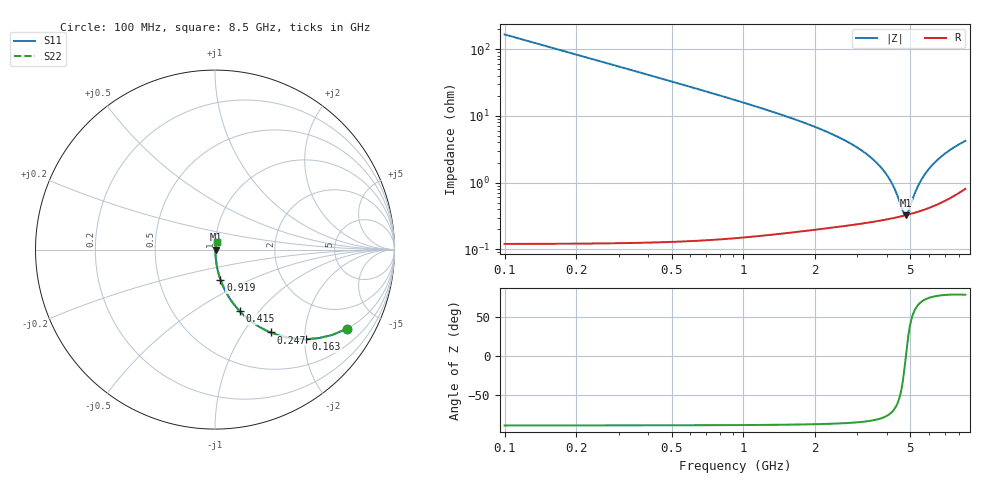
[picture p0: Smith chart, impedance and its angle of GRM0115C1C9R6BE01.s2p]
!Murata Part Number: GRM0115C1C9R6BE01
!These Parameters are Measured in Series Mode Connection
!Data Generated on Mar 30, 2021
!  o--ll--o
!Port1  Port2
!  o------o
!Operation Temp=25[degC], DC Bias Voltage=0[V]
!Freq. Start=100[MHz] Stop=9[GHz] 401[Steps]
# Hz S RI R 50
!Freq.(Hz) S11(Real) S11(Imag) S21(Real) S21(Imag) S12(Real) S12(Imag) S22(Real) S22(Imag)
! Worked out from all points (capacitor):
!   401 points, 100 MHz to 8.5 GHz, reference 50 ohm
!   read as one part in series: C = 9.6 pF near 142 MHz
!   lowest |Z| = 325 mohm at 4.783 GHz (marker M1)
!   series resonance near 4.788 GHz, so ESL is about 120 pH
!   S11 on the Smith chart (normalised r, x): 100 MHz: 1.00, -3.31; 163 MHz: 1.00, -2.03; 247 MHz: 1.00, -1.34; 415 MHz: 1.00, -0.79; 919 MHz: 1.00, -0.35; 8.5 GHz: 1.02, +0.08
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1e8  0.7329 -0.4421  0.2671 0.4421  0.2671 0.4421  0.7329 -0.4421
1.63e8  0.5078 -0.4993  0.4922 0.4993  0.4922 0.4993  0.5078 -0.4993
2.47e8  0.3097 -0.4615  0.6903 0.4615  0.6903 0.4615  0.3097 -0.4615
3.31e8  0.1995 -0.3984  0.8005 0.3984  0.8005 0.3984  0.1995 -0.3984
4.15e8  0.1365 -0.3418  0.8635 0.3418  0.8635 0.3418  0.1365 -0.3418
6.04e8  0.069 -0.2509  0.931 0.2509  0.931 0.2509  0.069 -0.2509
9.19e8  0.0305 -0.1679  0.9695 0.1679  0.9695 0.1679  0.0305 -0.1679
1.507e9  0.0114 -0.0975  0.9886 0.0975  0.9886 0.0975  0.0114 -0.0975
2.914e9  0.0036 -0.0354  0.9964 0.0354  0.9964 0.0354  0.0036 -0.0354
3.376e9  0.00313 -0.0245  0.9969 0.0245  0.9969 0.0245  0.00313 -0.0245
3.754e9  0.00298 -0.0169  0.997 0.0169  0.997 0.0169  0.00298 -0.0169
4.048e9  0.00297 -0.0116  0.997 0.0116  0.997 0.0116  0.00297 -0.0116
4.3e9  0.00302 -0.0074  0.997 0.0074  0.997 0.0074  0.00302 -0.0074
4.657e9  0.00317 -0.00191  0.9968 0.00191  0.9968 0.00191  0.00317 -0.00191
4.783e9  0.00324 -7.83e-05  0.9968 7.83e-05  0.9968 7.83e-05  0.00324 -7.83e-05
4.888e9  0.00331 0.00141  0.9967 -0.00141  0.9967 -0.00141  0.00331 0.00141
5.161e9  0.00352 0.00515  0.9965 -0.00515  0.9965 -0.00515  0.00352 0.00515
5.329e9  0.00367 0.00736  0.9963 -0.00736  0.9963 -0.00736  0.00367 0.00736
5.707e9  0.00406 0.0121  0.9959 -0.0121  0.9959 -0.0121  0.00406 0.0121
6.316e9  0.00487 0.0192  0.9951 -0.0192  0.9951 -0.0192  0.00487 0.0192
7.114e9  0.00627 0.0278  0.9937 -0.0278  0.9937 -0.0278  0.00627 0.0278
8.5e9  0.00969 0.0407  0.9903 -0.0407  0.9903 -0.0407  0.00969 0.0407
